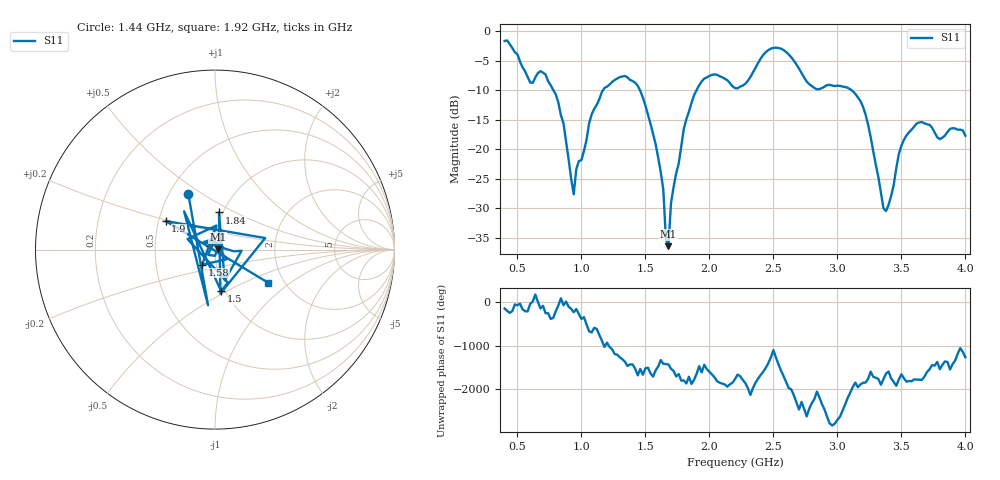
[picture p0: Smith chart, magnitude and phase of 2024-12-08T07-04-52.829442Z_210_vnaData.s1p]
!Created with skrf (http://scikit-rf.org).
# Hz S RI R 50.0
!freq ReS11 ImS11
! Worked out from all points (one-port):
!   181 points, 400 MHz to 4 GHz, reference 50 ohm
!   lowest |S11| = -36.5 dB at 1.68 GHz (marker M1), VSWR 1.03, Z = 51.5 + j0.19 ohm
!   |S11| at or under -10 dB: 781.3 MHz to 1.169 GHz (387.4 MHz wide, 39.7 % of centre); 1.458 GHz to 1.899 GHz (441.8 MHz wide, 26.3 % of centre); 3.111 GHz to end of sweep
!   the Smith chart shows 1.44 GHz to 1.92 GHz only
!   S11 on the Smith chart (normalised r, x): 1.44 GHz: 0.62, +0.44; 1.5 GHz: 0.96, -0.47; 1.58 GHz: 0.86, -0.15; 1.84 GHz: 0.96, +0.41; 1.9 GHz: 0.55, +0.19; 1.92 GHz: 1.66, -0.70
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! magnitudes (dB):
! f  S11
! 400 MHz  -1.6
! 600 MHz  -8.7
! 720 MHz  -7.3
! 860 MHz  -15.6
! 940 MHz  -27.7
! 960 MHz  -23.4
! 1.08 GHz  -14.1
! 1.3 GHz  -7.8
! 1.44 GHz  -9.2
! 1.5 GHz  -12.6
! 1.58 GHz  -19.2
! 1.64 GHz  -26.9
! 1.66 GHz  -35.2
! 1.68 GHz  -36.5
! 1.7 GHz  -29.1
! 1.76 GHz  -22.5
! 1.84 GHz  -13.6
! 1.9 GHz  -10.0
! 1.92 GHz  -9.1
! 2.2 GHz  -9.6
! 2.48 GHz  -2.9
! 2.66 GHz  -5.0
! 2.84 GHz  -9.8
! 3.1 GHz  -9.8
! 3.22 GHz  -14.1
! 3.38 GHz  -30.5
! 3.56 GHz  -17.1
! 4 GHz  -17.7
